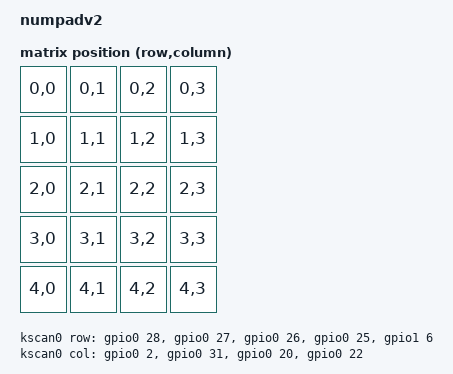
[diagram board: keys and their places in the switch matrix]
/*
 * Copyright (c) 2021 Nick Winans
 *
 * SPDX-License-Identifier: MIT
 */

/dts-v1/;
#include <nordic/nrf52840_qiaa.dtsi>
#include <common/nordic/nrf52840_uf2_boot_mode.dtsi>
#include <dt-bindings/zmk/matrix_transform.h>
#include <dt-bindings/zmk/ext_power.h>
#include <dt-bindings/led/led.h>
#include <dt-bindings/zmk/led_matrix.h>
#include <dt-bindings/zmk/led_matrix_colors.h>

#include "numpadv2_layouts.dtsi"
#include "numpadv2-pinctrl.dtsi"

/ {
	model = "numpadv2";
	compatible = "bmk,numpadv2";

	chosen {
		zephyr,code-partition = &code_partition;
		zephyr,settings-partition = &storage_partition;
		zephyr,sram = &sram0;
		zephyr,flash = &flash0;
		zmk,kscan = &kscan0;
		//zmk,matrix_transform = &default_transform;
		//zmk,backlight = &backlight;
		zmk,led-matrix = &led_matrix;
		//zephyr,display = &oled;
		zmk,battery = &vbatt;
		zmk,physical-layout = &layout_numpadv2;
		//zephyr,bt-uart = &uart0;
	};

	default_transform: keymap_transform_0 {
		compatible = "zmk,matrix-transform";
		columns = <4>;
		rows = <5>;
		map = <
RC(0,0) RC(0,1) RC(0,2) RC(0,3) 
RC(1,0) RC(1,1) RC(1,2) RC(1,3) 
RC(2,0) RC(2,1) RC(2,2) RC(2,3)
RC(3,0) RC(3,1) RC(3,2) RC(3,3) 
RC(4,0) RC(4,1) RC(4,2) RC(4,3)
		>;
	};

	kscan0: kscan {
		compatible = "zmk,kscan-gpio-matrix";
		diode-direction = "row2col";
		wakeup-source;
		row-gpios
			= <&gpio0 28 GPIO_ACTIVE_HIGH>
			, <&gpio0 27 GPIO_ACTIVE_HIGH>
			, <&gpio0 26 GPIO_ACTIVE_HIGH>
			, <&gpio0 25 GPIO_ACTIVE_HIGH>
			, <&gpio1 6 GPIO_ACTIVE_HIGH>
			;
		col-gpios
			= <&gpio0 2 (GPIO_ACTIVE_HIGH | GPIO_PULL_DOWN)>
			, <&gpio0 31 (GPIO_ACTIVE_HIGH | GPIO_PULL_DOWN)>
			, <&gpio0 20 (GPIO_ACTIVE_HIGH | GPIO_PULL_DOWN)>
			, <&gpio0 22 (GPIO_ACTIVE_HIGH | GPIO_PULL_DOWN)>
			;
	};

	/*
	leds {
		compatible = "gpio-leds";
		white_led: led_0 {
			gpios = <&gpio0 29 GPIO_ACTIVE_HIGH>;
			label = "White_LED";
		};
	};


	lcd_light {
		compatible = "gpio-leds";
		lcd_light_sw: lcd_light {
			gpios = <&gpio0 8 (GPIO_ACTIVE_HIGH | GPIO_PULL_DOWN)>;
			label = "LCD_LIGHT";
		};
	};
 
	lcd_power {
		compatible = "gpio-leds";
		lcd_power_sw: lcd_power {
			gpios = <&gpio0 12 (GPIO_ACTIVE_HIGH | GPIO_PULL_DOWN)>;
			label = "LCD_POWER";
		};
	};
*/

	EXT_POWER {
        compatible = "zmk,ext-power-generic";
        control-gpios = <&gpio1 14 GPIO_ACTIVE_LOW>;
		init-delay-ms = <100>;
    };

	led_matrix: led_matrix {
		compatible = "zmk,led-matrix";
		led-driver = "strip";
		led-strip-device = <&led_strip>;
		led-count = <24>;

		matrix-led-grid = <
			4 5 6 7 LM_BREAK
			8 9 10 11 LM_BREAK
			12 13 14 15 LM_BREAK
			16 17 18 19 LM_BREAK
			20 21 22 23
		>;
		ble-profile-leds = <16 17 18 19>;
        ble-color-open = <LM_BLUE>;
        ble-color-connected = <LM_CYAN>;
        ble-color-disconnected = <LM_RED>;

		hid-num-leds = <4>;
		hid-num-color-on = <LM_GREEN>;
		hid-num-color-off = <LM_BLACK>;

		battery-leds = <0 1 2 3>;
		battery-level-colors = <LM_RED LM_ORANGE LM_YELLOW LM_GREEN>;
		battery-color-off = <LM_BLACK>;

		independent0 {
			independent-id = <0>;
			independent-leds = <0 1 2 3>;

			profile0 {
				profile-id = <0>;
				renderer = "solid";
				colors = <LM_BLACK>;
				brightness = <100>;
				period-ms = <1000>;
			};
		};

		profile0 {
			profile-id = <0>;
			display-name = "Palette";
			renderer = "solid";
			colors = <LM_PALETTE>;
			brightness = <100>;
			period-ms = <1000>;
		};

		profile1 {
            profile-id = <1>;
            display-name = "Breathing Palette";
            renderer = "breathe";
            colors = <LM_PALETTE>;
            brightness = <100>;
            period-ms = <1800>;
        };

		profile2 {
            profile-id = <2>;
            display-name = "Spectrum";
            renderer = "spectrum";
            colors = <LM_DIM_AMBER>;
            brightness = <100>;
            period-ms = <2200>;
        };

		profile3 {
            profile-id = <3>;
            display-name = "Swirl";
            renderer = "swirl";
            colors = <LM_DIM_CYAN>;
            brightness = <100>;
            period-ms = <2200>;
        };

        profile4 {
            profile-id = <4>;
            display-name = "Keypress";
            renderer = "keypress";
            keypress-afterglow-ms = <1000>;
            keypress-fadeout-ms = <250>;
            keypress-range = <1>;
            colors = <LM_PALETTE>;
            brightness = <100>;
            period-ms = <350>;
        };

        profile5 {
            profile-id = <5>;
            display-name = "Ripple";
            renderer = "ripple";
            colors = <LM_RAINBOW>;
            brightness = <100>;
            period-ms = <1500>;
        };

        profile6 {
            profile-id = <6>;
            display-name = "Rain";
            renderer = "rain";
            colors = <LM_DIM_CYAN>;
            brightness = <100>;
            period-ms = <1400>;
        };

        profile7 {
            profile-id = <7>;
            display-name = "Starlight";
            renderer = "starlight";
            colors = <LM_DIM_WHITE>;
            brightness = <100>;
            period-ms = <2200>;
        };

		
	};

	vbatt: vbatt {
		compatible = "zmk,battery-voltage-divider";
		io-channels = <&adc 3>;
		output-ohms = <2000000>;
		full-ohms = <(2000000 + 806000)>;
	};
};

/*
&pwm0 {
    status = "okay";
    pinctrl-0 = <&pwm0_default>;
    pinctrl-1 = <&pwm0_sleep>;
    pinctrl-names = "default", "sleep";
};
*/

&adc {
	status = "okay";
};

&gpiote {
	status = "okay";
};

&gpio0 {
	status = "okay";
};

&gpio1 {
    status = "okay";
};

&reg0 {
    status = "okay";
};

&reg1 {
    regulator-initial-mode = <NRF5X_REG_MODE_DCDC>;
};

&spi3 {
    compatible = "nordic,nrf-spim";
    status = "okay";
    zephyr,pm-device-runtime-auto;
    pinctrl-0 = <&spi3_default>;
    pinctrl-1 = <&spi3_sleep>;
    pinctrl-names = "default", "sleep";
	status = "okay";

    led_strip: ws2812@0 {
        compatible = "worldsemi,ws2812-spi";
        /* SPI */
        reg = <0>;
        spi-max-frequency = <4000000>;

        /* WS2812 */
        chain-length = <24>; /* number of LEDs */
        spi-one-frame = <0x70>;
        spi-zero-frame = <0x40>;

        color-mapping = <LED_COLOR_ID_GREEN
                        LED_COLOR_ID_RED
                        LED_COLOR_ID_BLUE>;
    };
};

/*
&usbd {
	status = "okay";
};
*/


zephyr_udc0: &usbd {
    status = "okay";
};


&flash0 {
	/*
	 * For more information, see:
	 * http://docs.zephyrproject.org/latest/devices/dts/flash_partitions.html
	 */
	partitions {
		compatible = "fixed-partitions";
		#address-cells = <1>;
		#size-cells = <1>;

		sd_partition: partition@0 {
			label = "mbr";
			reg = <0x00000000 0x00001000>;
		};

		code_partition: partition@1000 {
			label = "code_partition";
			reg = <0x00001000 0x0007f000>;
		};

		/*
		 * The flash starting at 0x00080000 and ending at
		 * 0x0008ffff is reserved for application settings.
		 */

		/*
		 * Storage partition will be used by FCB/LittleFS/NVS
		 * if enabled.
		 */
		storage_partition: partition@80000 {
			label = "storage";
			reg = <0x00080000 0x00010000>;
		};

		boot_partition: partition@f4000 {
			label = "adafruit_boot";
			reg = <0x000f4000 0x0000c000>;
		};
	};
};


&layout_numpadv2 {
    transform = <&default_transform>;
};
